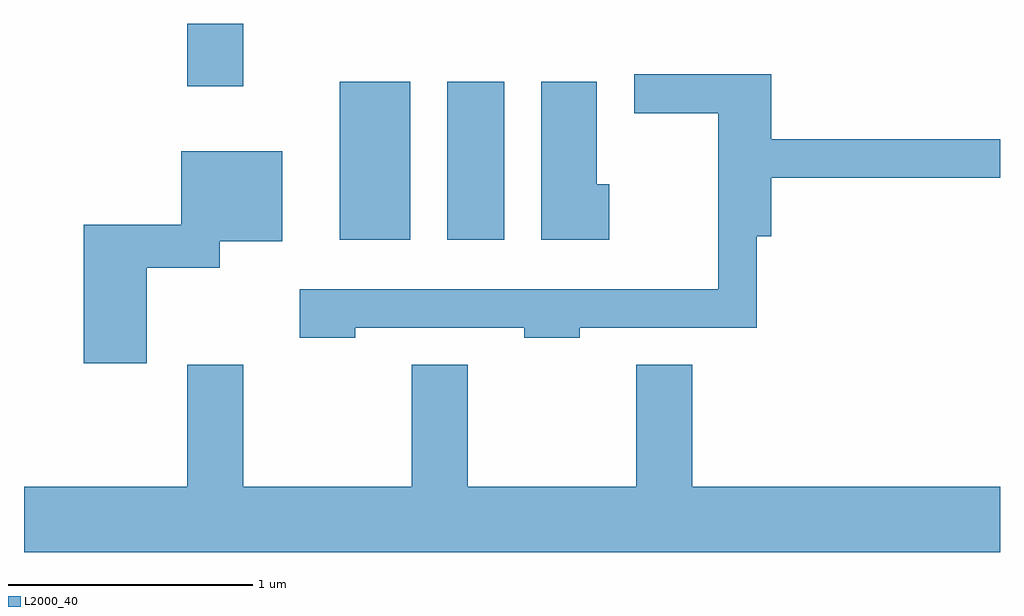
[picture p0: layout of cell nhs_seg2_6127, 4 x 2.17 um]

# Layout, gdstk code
import gdstk
lib = gdstk.Library(unit=1e-6, precision=1e-09)
def R(c, l, rs):  # rectangles x0, y0, x1, y1
    for r in rs: c.add(gdstk.rectangle(r[:2], r[2:], *l))
def P(c, l, *ps):  # polygons
    for p in ps: c.add(gdstk.Polygon(p, *l))
L2000_40 = (2000, 40)

nhs_seg2_6127 = lib.new_cell('nhs_seg2_6127')
R(nhs_seg2_6127, L2000_40, [(366.906,1062.916,367.194,1063.564), (367.346,1062.916,367.579,1063.564), (366.281,1063.546,366.509,1063.802)])
P(nhs_seg2_6127, L2000_40, [(366.969,1062.556),(367.661,1062.556),(367.661,1062.516),(367.889,1062.516),(367.889,1062.556),(368.614,1062.556),(368.614,1062.931),(368.674,1062.931),(368.674,1063.171),(369.611,1063.171),(369.611,1063.329),(368.674,1063.329),(368.674,1063.594),(368.113,1063.594),(368.113,1063.436),(368.456,1063.436),(368.456,1062.714),(366.741,1062.714),(366.741,1062.516),(366.969,1062.516)],
  [(368.009,1063.144),(367.959,1063.144),(367.959,1063.564),(367.731,1063.564),(367.731,1062.916),(368.009,1062.916)],
  [(366.114,1062.801),(366.414,1062.801),(366.414,1062.911),(366.669,1062.911),(366.669,1063.279),(366.256,1063.279),(366.256,1062.979),(365.856,1062.979),(365.856,1062.411),(366.114,1062.411)],
  [(369.611,1061.904),(368.349,1061.904),(368.349,1062.404),(368.121,1062.404),(368.121,1061.904),(367.429,1061.904),(367.429,1062.404),(367.201,1062.404),(367.201,1061.904),(366.509,1061.904),(366.509,1062.404),(366.281,1062.404),(366.281,1061.904),(365.611,1061.904),(365.611,1061.636),(369.611,1061.636)])

lib.write_gds('nhs_seg2_6127.gds')
